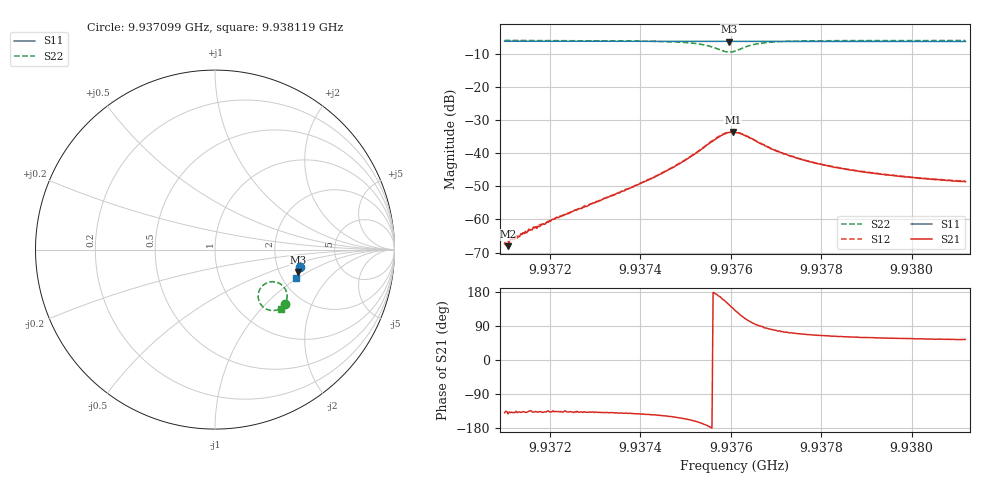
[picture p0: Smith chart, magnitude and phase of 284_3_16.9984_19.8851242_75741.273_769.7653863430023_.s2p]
#  HZ  S  RI  R  50.00
! Rohde & Schwarz Vector Network Analyzer
! Rohde-Schwarz,ZNB20-2Port,1311601062101988,3.16
! Created: UTC 3/20/2024, 11:04:50 PM
! freq[Hz]  re:S11  im:S11  re:S21  im:S21  re:S12  im:S12  re:S22  im:S22
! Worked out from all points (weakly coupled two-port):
!   401 points, 9.937099 GHz to 9.938119 GHz, reference 50 ohm
!   highest |S21| = -33.67 dB at 9.937604 GHz (marker M1); lowest = -68.0 dB at 9.937107 GHz (marker M2)
!   lowest |S11| = -6.4 dB at 9.937597 GHz (marker M3), VSWR 2.84, Z = 126 - j41.4 ohm
!   |S11| at or under -10 dB: nowhere
!   |S22| runs from -9.6 to -6.1 dB; largest |S21 - S12| = 0.001
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9.9370995e9  0.4752 -0.0942  -0.000327 -0.000281  -0.000355 -0.000291  0.3927 -0.3055
9.937102e9  0.4751 -0.0942  -0.00031 -0.000308  -0.000314 -0.000257  0.3923 -0.3058
9.9371071e9  0.475 -0.0947  -0.000313 -0.000243  -0.000357 -0.000298  0.392 -0.3062
9.9371173e9  0.4747 -0.0952  -0.000379 -0.000328  -0.000417 -0.000299  0.3912 -0.3069
9.9371275e9  0.4745 -0.0962  -0.000418 -0.000361  -0.000379 -0.00036  0.3904 -0.3077
9.9371581e9  0.4741 -0.098  -0.000492 -0.00051  -0.000524 -0.000484  0.388 -0.3099
9.9372703e9  0.4719 -0.1057  -0.00107 -0.000999  -0.00112 -0.000996  0.3777 -0.319
9.9373799e9  0.4696 -0.113  -0.00236 -0.00191  -0.00246 -0.00187  0.3612 -0.3297
9.9374411e9  0.4681 -0.1171  -0.0039 -0.00265  -0.00401 -0.00262  0.3449 -0.3364
9.9374947e9  0.4667 -0.1207  -0.00671 -0.00324  -0.00691 -0.00318  0.3188 -0.3398
9.9375405e9  0.4651 -0.1239  -0.0119 -0.00218  -0.0122 -0.00207  0.2762 -0.3261
9.9375737e9  0.4637 -0.1256  -0.0172 0.0035  -0.0174 0.00405  0.2418 -0.2731
9.9375966e9  0.4629 -0.1261  -0.0168 0.0116  -0.0167 0.0124  0.2579 -0.2092
9.9376043e9  0.4629 -0.1262  -0.0152 0.014  -0.0147 0.0149  0.2758 -0.1928
9.9376094e9  0.4631 -0.1263  -0.0135 0.0155  -0.0132 0.0162  0.2898 -0.1853
9.9376374e9  0.4634 -0.1279  -0.0045 0.0172  -0.00419 0.0174  0.3608 -0.1893
9.9376655e9  0.4633 -0.1299  6.86e-05 0.0139  0.000602 0.0141  0.3922 -0.2218
9.937719e9  0.4626 -0.1338  0.00272 0.00929  0.00287 0.00938  0.4018 -0.265
9.9377802e9  0.4612 -0.1382  0.00294 0.00663  0.00308 0.00668  0.3969 -0.2893
9.9378541e9  0.4595 -0.1433  0.00278 0.00503  0.00284 0.00504  0.3894 -0.3055
9.937951e9  0.457 -0.1496  0.0025 0.00393  0.00261 0.00391  0.381 -0.3182
9.9381192e9  0.4527 -0.1604  0.00216 0.00301  0.00231 0.00302  0.3686 -0.3327
